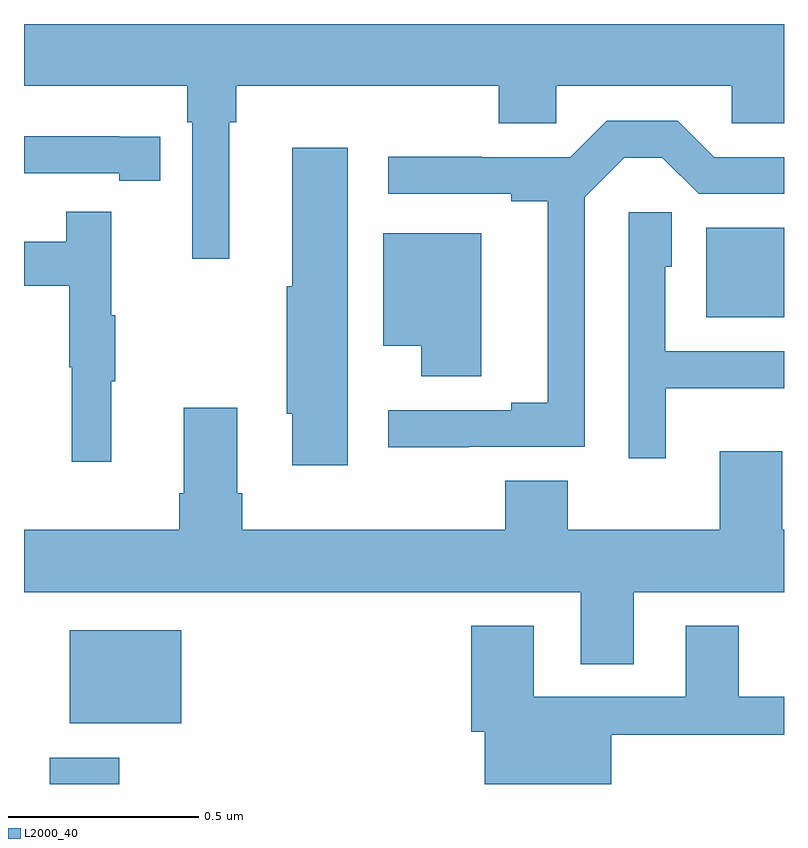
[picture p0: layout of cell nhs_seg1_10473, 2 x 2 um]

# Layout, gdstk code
import gdstk
lib = gdstk.Library(unit=1e-6, precision=1e-09)
def R(c, l, rs):  # rectangles x0, y0, x1, y1
    for r in rs: c.add(gdstk.rectangle(r[:2], r[2:], *l))
def P(c, l, *ps):  # polygons
    for p in ps: c.add(gdstk.Polygon(p, *l))
L2000_40 = (2000, 40)

nhs_seg1_10473 = lib.new_cell('nhs_seg1_10473')
R(nhs_seg1_10473, L2000_40, [(241.068,579.199,241.251,579.268), (241.121,579.359,241.414,579.604), (242.795,580.427,243,580.663)])
P(nhs_seg1_10473, L2000_40, [(241.54,580.94),(241.559,580.94),(241.559,581.036),(242.249,581.036),(242.249,580.938),(242.4,580.938),(242.4,581.036),(242.862,581.036),(242.862,580.938),(243,580.938),(243,581.199),(241,581.199),(241,581.036),(241.43,581.036),(241.43,580.94),(241.443,580.94),(241.443,580.581),(241.54,580.581)],
  [(242.171,580.086),(242.475,580.086),(242.475,580.743),(242.579,580.847),(242.68,580.847),(242.775,580.752),(243,580.752),(243,580.848),(242.817,580.848),(242.721,580.944),(242.534,580.944),(242.438,580.848),(242.205,580.848),(242.205,580.85),(241.959,580.85),(241.959,580.752),(242.282,580.752),(242.282,580.732),(242.378,580.732),(242.378,580.202),(242.282,580.202),(242.282,580.182),(241.959,580.182),(241.959,580.085),(242.171,580.085)],
  [(241.358,580.902),(241.25,580.902),(241.25,580.903),(241,580.903),(241,580.806),(241.25,580.806),(241.25,580.786),(241.358,580.786)],
  [(241.852,580.873),(241.706,580.873),(241.706,580.509),(241.691,580.509),(241.691,580.173),(241.706,580.173),(241.706,580.038),(241.852,580.038)],
  [(241.229,580.259),(241.24,580.259),(241.24,580.433),(241.229,580.433),(241.229,580.705),(241.111,580.705),(241.111,580.626),(241,580.626),(241,580.51),(241.119,580.51),(241.119,580.296),(241.126,580.296),(241.126,580.047),(241.229,580.047)],
  [(242.689,580.241),(243,580.241),(243,580.338),(242.688,580.338),(242.688,580.56),(242.704,580.56),(242.704,580.703),(242.592,580.703),(242.592,580.056),(242.689,580.056)],
  [(242.203,580.648),(241.946,580.648),(241.946,580.352),(242.045,580.352),(242.045,580.272),(242.203,580.272)],
  [(242.605,579.704),(243,579.704),(243,579.868),(242.995,579.868),(242.995,580.075),(242.831,580.075),(242.831,579.868),(242.431,579.868),(242.431,579.997),(242.267,579.997),(242.267,579.868),(241.574,579.868),(241.574,579.964),(241.561,579.964),(241.561,580.189),(241.421,580.189),(241.421,579.964),(241.409,579.964),(241.409,579.868),(241,579.868),(241,579.704),(242.465,579.704),(242.465,579.514),(242.605,579.514)],
  [(242.545,579.328),(243,579.328),(243,579.429),(242.881,579.429),(242.881,579.616),(242.741,579.616),(242.741,579.429),(242.341,579.429),(242.341,579.616),(242.177,579.616),(242.177,579.336),(242.213,579.336),(242.213,579.199),(242.545,579.199)])

lib.write_gds('nhs_seg1_10473.gds')
